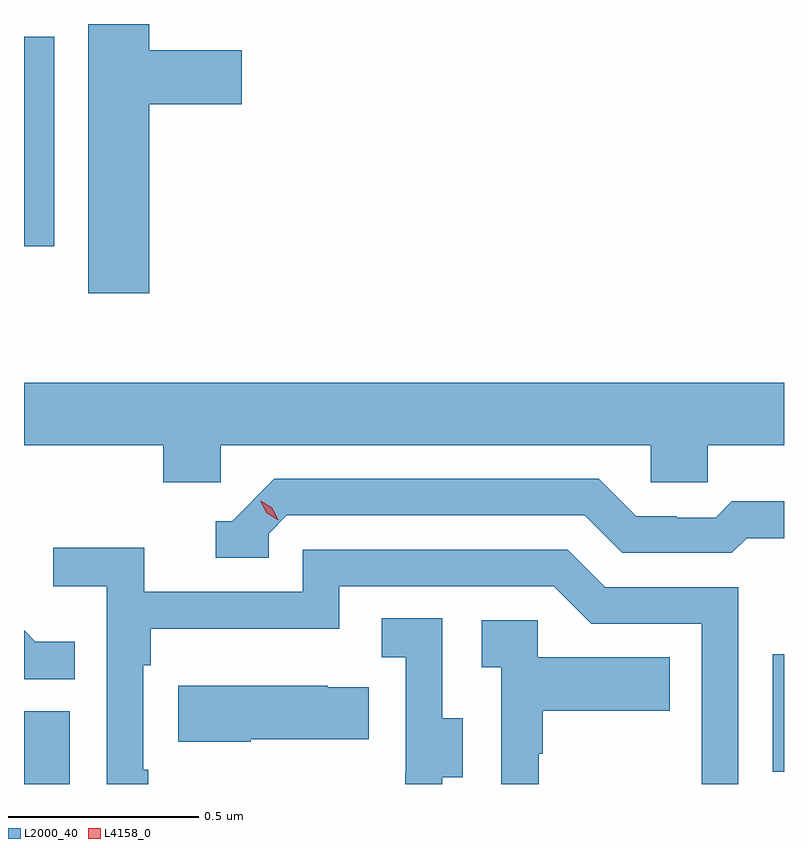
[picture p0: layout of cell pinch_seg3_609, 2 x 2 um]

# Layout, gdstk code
import gdstk
lib = gdstk.Library(unit=1e-6, precision=1e-09)
def R(c, l, rs):  # rectangles x0, y0, x1, y1
    for r in rs: c.add(gdstk.rectangle(r[:2], r[2:], *l))
def P(c, l, *ps):  # polygons
    for p in ps: c.add(gdstk.Polygon(p, *l))
L2000_40 = (2000, 40)
L4158_0 = (4158, 0)

pinch_seg3_609 = lib.new_cell('pinch_seg3_609')
R(pinch_seg3_609, L2000_40, [(1034.068,692.032,1034.188,692.223), (1036.038,692.064,1036.068,692.374), (1034.068,693.447,1034.148,693.998)])
P(pinch_seg3_609, L2000_40, [(1034.398,693.821),(1034.641,693.821),(1034.641,693.963),(1034.398,693.963),(1034.398,694.032),(1034.237,694.032),(1034.237,693.324),(1034.398,693.324)],
  [(1034.586,692.924),(1035.717,692.924),(1035.717,692.826),(1035.867,692.826),(1035.867,692.924),(1036.068,692.924),(1036.068,693.088),(1034.068,693.088),(1034.068,692.924),(1034.435,692.924),(1034.435,692.826),(1034.586,692.826)],
  [(1034.712,692.691),(1034.76,692.739),(1035.543,692.739),(1035.642,692.64),(1035.931,692.64),(1035.97,692.679),(1036.068,692.679),(1036.068,692.776),(1035.931,692.776),(1035.889,692.733),(1035.786,692.733),(1035.786,692.736),(1035.679,692.736),(1035.58,692.835),(1034.727,692.835),(1034.616,692.724),(1034.573,692.724),(1034.573,692.628),(1034.712,692.628)],
  [(1034.395,692.069),(1034.382,692.069),(1034.382,692.345),(1034.402,692.345),(1034.402,692.441),(1034.898,692.441),(1034.898,692.553),(1035.462,692.553),(1035.561,692.454),(1035.852,692.454),(1035.852,692.032),(1035.948,692.032),(1035.948,692.55),(1035.598,692.55),(1035.499,692.649),(1034.802,692.649),(1034.802,692.538),(1034.384,692.538),(1034.384,692.654),(1034.145,692.654),(1034.145,692.552),(1034.286,692.552),(1034.286,692.032),(1034.395,692.032)],
  [(1035.169,692.05),(1035.223,692.05),(1035.223,692.205),(1035.168,692.205),(1035.168,692.468),(1035.009,692.468),(1035.009,692.365),(1035.072,692.365),(1035.072,692.061),(1035.071,692.061),(1035.071,692.032),(1035.169,692.032)],
  [(1035.423,692.111),(1035.433,692.111),(1035.433,692.225),(1035.767,692.225),(1035.767,692.365),(1035.42,692.365),(1035.42,692.463),(1035.273,692.463),(1035.273,692.339),(1035.324,692.339),(1035.324,692.032),(1035.423,692.032)],
  [(1034.201,692.407),(1034.097,692.407),(1034.068,692.436),(1034.068,692.308),(1034.201,692.308)],
  [(1034.665,692.15),(1034.975,692.15),(1034.975,692.287),(1034.867,692.287),(1034.867,692.29),(1034.474,692.29),(1034.474,692.143),(1034.665,692.143)])
P(pinch_seg3_609, L4158_0, [(1034.737,692.726),(1034.706,692.746),(1034.69,692.778),(1034.69,692.778),(1034.691,692.778),(1034.721,692.759),(1034.737,692.727),(1034.737,692.726)])

lib.write_gds('pinch_seg3_609.gds')
